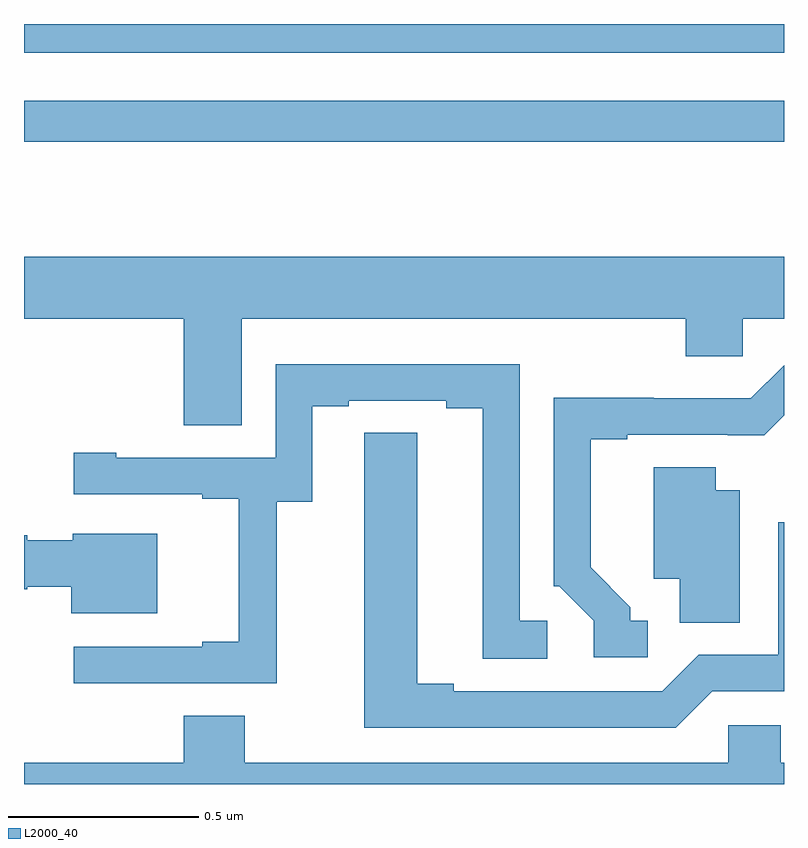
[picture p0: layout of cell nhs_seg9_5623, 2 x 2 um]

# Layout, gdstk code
import gdstk
lib = gdstk.Library(unit=1e-6, precision=1e-09)
def R(c, l, rs):  # rectangles x0, y0, x1, y1
    for r in rs: c.add(gdstk.rectangle(r[:2], r[2:], *l))
def P(c, l, *ps):  # polygons
    for p in ps: c.add(gdstk.Polygon(p, *l))
L2000_40 = (2000, 40)

nhs_seg9_5623 = lib.new_cell('nhs_seg9_5623')
R(nhs_seg9_5623, L2000_40, [(181,1226.19,183,1226.298), (181,1226.424,183,1226.5)])
P(nhs_seg9_5623, L2000_40, [(181.573,1225.724),(182.741,1225.724),(182.741,1225.626),(182.892,1225.626),(182.892,1225.724),(183,1225.724),(183,1225.888),(181,1225.888),(181,1225.724),(181.421,1225.724),(181.421,1225.444),(181.573,1225.444)],
  [(181.665,1225.243),(181.759,1225.243),(181.759,1225.494),(181.855,1225.494),(181.855,1225.509),(182.111,1225.509),(182.111,1225.489),(182.207,1225.489),(182.207,1224.829),(182.377,1224.829),(182.377,1224.93),(182.304,1224.93),(182.304,1225.605),(181.662,1225.605),(181.662,1225.359),(181.243,1225.359),(181.243,1225.372),(181.131,1225.372),(181.131,1225.263),(181.469,1225.263),(181.469,1225.251),(181.565,1225.251),(181.565,1224.874),(181.469,1224.874),(181.469,1224.861),(181.131,1224.861),(181.131,1224.765),(181.665,1224.765)],
  [(182.641,1224.93),(182.596,1224.93),(182.596,1224.965),(182.491,1225.07),(182.491,1225.407),(182.587,1225.407),(182.587,1225.419),(182.852,1225.419),(182.852,1225.418),(182.948,1225.418),(183,1225.47),(183,1225.602),(182.913,1225.515),(182.657,1225.515),(182.657,1225.517),(182.394,1225.517),(182.394,1225.02),(182.409,1225.02),(182.499,1224.93),(182.499,1224.834),(182.641,1224.834)],
  [(182.811,1224.744),(183,1224.744),(183,1225.189),(182.985,1225.189),(182.985,1224.84),(182.775,1224.84),(182.679,1224.744),(182.131,1224.744),(182.131,1224.764),(182.035,1224.764),(182.035,1225.424),(181.896,1225.424),(181.896,1225.316),(181.895,1225.316),(181.895,1224.648),(182.715,1224.648)],
  [(182.884,1225.273),(182.821,1225.273),(182.821,1225.334),(182.657,1225.334),(182.657,1225.04),(182.726,1225.04),(182.726,1224.925),(182.884,1224.925)],
  [(181.351,1225.159),(181.128,1225.159),(181.128,1225.141),(181.008,1225.141),(181.008,1225.154),(181,1225.154),(181,1225.012),(181.008,1225.012),(181.008,1225.019),(181.124,1225.019),(181.124,1224.95),(181.351,1224.95)],
  [(181.581,1224.68),(181.421,1224.68),(181.421,1224.556),(181,1224.556),(181,1224.5),(183,1224.5),(183,1224.556),(182.991,1224.556),(182.991,1224.654),(182.853,1224.654),(182.853,1224.556),(181.581,1224.556)])

lib.write_gds('nhs_seg9_5623.gds')
